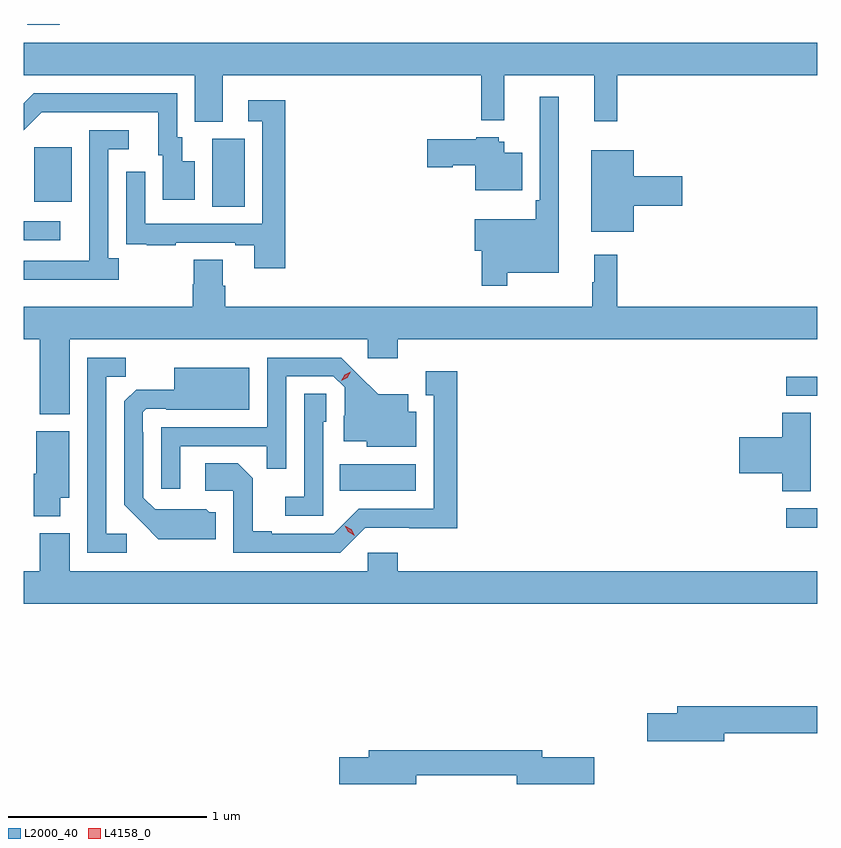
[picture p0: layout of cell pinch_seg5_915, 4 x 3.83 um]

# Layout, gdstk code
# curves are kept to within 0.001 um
import gdstk
lib = gdstk.Library(unit=1e-6, precision=1e-09)
def R(c, l, rs):  # rectangles x0, y0, x1, y1
    for r in rs: c.add(gdstk.rectangle(r[:2], r[2:], *l))
def P(c, l, *ps):  # polygons
    for p in ps: c.add(gdstk.Polygon(p, *l))
L2000_40 = (2000, 40)
L4158_0 = (4158, 0)

pinch_seg5_915 = lib.new_cell('pinch_seg5_915')
R(pinch_seg5_915, L2000_40, [(692.175,891.775,692.332,891.873), (689.926,891.962,690.307,892.096), (692.175,892.44,692.332,892.536), (688.332,893.223,688.516,893.319), (689.282,893.392,689.446,893.736), (688.385,893.417,688.573,893.692), (688.349,894.309,688.514,894.314)])
P(pinch_seg5_915, L2000_40, [(689.335,894.056),(690.637,894.056),(690.637,893.828),(690.755,893.828),(690.755,894.056),(691.208,894.056),(691.208,893.823),(691.325,893.823),(691.325,894.056),(692.332,894.056),(692.332,894.22),(688.332,894.22),(688.332,894.056),(689.195,894.056),(689.195,893.821),(689.335,893.821)],
  [(689.194,893.623),(689.131,893.623),(689.131,893.742),(689.106,893.742),(689.106,893.964),(688.382,893.964),(688.332,893.914),(688.332,893.778),(688.422,893.868),(689.009,893.868),(689.009,893.652),(689.033,893.652),(689.033,893.427),(689.194,893.427)],
  [(690.769,893.06),(691.03,893.06),(691.03,893.947),(690.933,893.947),(690.933,893.425),(690.913,893.425),(690.913,893.329),(690.606,893.329),(690.606,893.171),(690.64,893.171),(690.64,892.995),(690.769,892.995)],
  [(689.651,893.929),(689.463,893.929),(689.463,893.823),(689.535,893.823),(689.535,893.307),(688.944,893.307),(688.944,893.569),(688.848,893.569),(688.848,893.314),(688.849,893.314),(688.849,893.205),(688.951,893.205),(688.951,893.199),(689.099,893.199),(689.099,893.211),(689.399,893.211),(689.399,893.199),(689.495,893.199),(689.495,893.082),(689.651,893.082)],
  [(688.81,893.134),(688.758,893.134),(688.758,893.682),(688.861,893.682),(688.861,893.778),(688.662,893.778),(688.662,893.321),(688.661,893.321),(688.661,893.121),(688.332,893.121),(688.332,893.024),(688.81,893.024)],
  [(690.844,893.665),(690.754,893.665),(690.754,893.721),(690.726,893.721),(690.726,893.743),(690.612,893.743),(690.612,893.733),(690.366,893.733),(690.366,893.591),(690.495,893.591),(690.495,893.603),(690.608,893.603),(690.608,893.477),(690.844,893.477)],
  [(691.408,893.399),(691.651,893.399),(691.651,893.546),(691.408,893.546),(691.408,893.677),(691.193,893.677),(691.193,893.267),(691.408,893.267)],
  [(688.564,892.724),(690.066,892.724),(690.066,892.629),(690.218,892.629),(690.218,892.724),(692.332,892.724),(692.332,892.888),(691.325,892.888),(691.325,893.152),(691.208,893.152),(691.208,893.012),(691.197,893.012),(691.197,892.888),(689.348,892.888),(689.348,892.994),(689.335,892.994),(689.335,893.126),(689.188,893.126),(689.188,893.001),(689.183,893.001),(689.183,892.888),(688.332,892.888),(688.332,892.724),(688.412,892.724),(688.412,892.346),(688.564,892.346)],
  [(688.852,891.744),(688.749,891.744),(688.749,892.537),(688.845,892.537),(688.845,892.632),(688.653,892.632),(688.653,891.648),(688.852,891.648)],
  [(689.121,892.185),(689.557,892.185),(689.557,892.072),(689.655,892.072),(689.655,892.539),(689.892,892.539),(689.949,892.482),(689.949,892.34),(689.945,892.34),(689.945,892.211),(690.06,892.211),(690.06,892.184),(690.31,892.184),(690.31,892.36),(690.271,892.36),(690.271,892.447),(690.119,892.447),(689.932,892.632),(689.559,892.632),(689.559,892.281),(689.025,892.281),(689.025,891.972),(689.121,891.972)],
  [(689.299,891.852),(689.268,891.852),(689.252,891.868),(688.995,891.867),(688.935,891.927),(688.935,892.256),(688.932,892.256),(688.932,892.356),(688.95,892.374),(689.05,892.374),(689.05,892.37),(689.47,892.37),(689.47,892.582),(689.09,892.582),(689.09,892.471),(688.898,892.471),(688.839,892.412),(688.839,891.89),(689.011,891.716),(689.299,891.716)],
  [(690.054,891.774),(690.517,891.773),(690.517,892.564),(690.359,892.564),(690.359,892.443),(690.398,892.443),(690.398,891.87),(690.021,891.87),(689.895,891.744),(689.581,891.744),(689.581,891.757),(689.487,891.757),(689.487,892.024),(689.411,892.1),(689.247,892.1),(689.247,891.96),(689.388,891.96),(689.388,891.648),(689.928,891.648)],
  [(689.841,892.308),(689.856,892.308),(689.856,892.451),(689.745,892.451),(689.745,891.931),(689.649,891.931),(689.649,891.834),(689.841,891.834)],
  [(692.299,892.355),(692.156,892.355),(692.156,892.232),(691.938,892.232),(691.938,892.049),(692.156,892.049),(692.156,891.958),(692.299,891.958)],
  [(688.516,891.926),(688.561,891.926),(688.561,892.261),(688.394,892.261),(688.394,892.047),(688.382,892.047),(688.382,891.833),(688.516,891.833)],
  [(692.332,891.556),(690.218,891.556),(690.218,891.649),(690.066,891.649),(690.066,891.556),(688.564,891.556),(688.564,891.748),(688.412,891.748),(688.412,891.556),(688.332,891.556),(688.332,891.392),(692.332,891.392)],
  [(691.864,890.74),(692.332,890.74),(692.332,890.876),(691.625,890.876),(691.625,890.84),(691.476,890.84),(691.476,890.698),(691.864,890.698)],
  [(690.31,890.526),(690.818,890.526),(690.818,890.483),(691.207,890.483),(691.207,890.618),(690.946,890.618),(690.946,890.654),(690.071,890.654),(690.071,890.618),(689.922,890.618),(689.922,890.483),(690.31,890.483)])
P(pinch_seg5_915, L4158_0, [(690,891.735),(689.968,891.754),(689.951,891.786),(689.951,891.786),(689.951,891.786),(689.983,891.768),(690,891.735),(690,891.735)],
  [(689.932,892.516),(689.932,892.516),(689.949,892.545),(689.98,892.56),(689.98,892.56),(689.98,892.56),(689.963,892.531),(689.932,892.516)])

lib.write_gds('pinch_seg5_915.gds')
